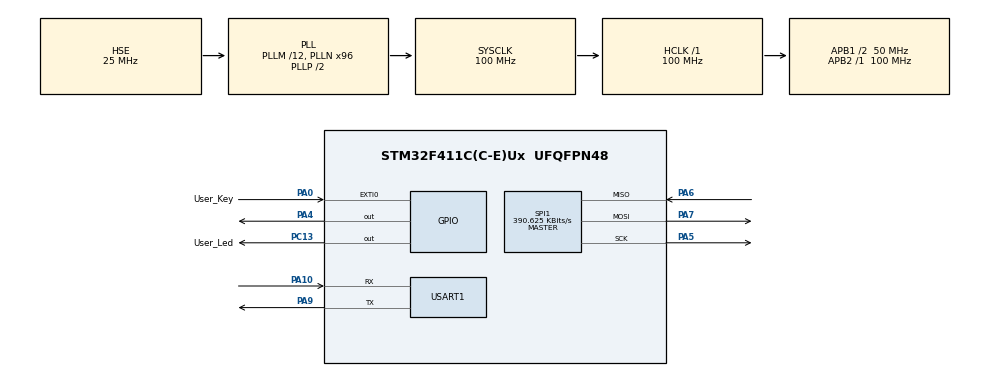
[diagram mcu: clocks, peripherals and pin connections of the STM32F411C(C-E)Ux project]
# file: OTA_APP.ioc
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Dma.Request0=USART1_RX
Dma.USART1_RX.0.Direction=DMA_PERIPH_TO_MEMORY
Dma.USART1_RX.0.FIFOMode=DMA_FIFOMODE_DISABLE
Dma.USART1_RX.0.Instance=DMA2_Stream2
Dma.USART1_RX.0.MemDataAlignment=DMA_MDATAALIGN_BYTE
Dma.USART1_RX.0.MemInc=DMA_MINC_ENABLE
Dma.USART1_RX.0.Mode=DMA_CIRCULAR
Dma.USART1_RX.0.PeriphDataAlignment=DMA_PDATAALIGN_BYTE
Dma.USART1_RX.0.PeriphInc=DMA_PINC_DISABLE
Dma.USART1_RX.0.Priority=DMA_PRIORITY_LOW
FREERTOS.Tasks01=defaultTask,24,128,StartDefaultTask,Default,NULL,Dynamic,NULL,NULL;key_task,24,128,key_task_runnable,Default,NULL,Dynamic,NULL,NULL;led_task,8,128,led_task_runnable,Default,NULL,Dynamic,NULL,NULL
FREERTOS.Timers01=LedTimer,LedCallback,osTimerOnce,Default,NULL,Dynamic,NULL
Mcu.Family=STM32F4
Mcu.Name=STM32F411C(C-E)Ux
Mcu.Package=UFQFPN48
NVIC.DMA2_Stream2_IRQn=true\:5\:0\:false\:false\:true\:true\:false\:true\:true
NVIC.EXTI0_IRQn=true\:5\:0\:true\:false\:true\:true\:true\:true\:true
NVIC.PriorityGroup=NVIC_PRIORITYGROUP_4
NVIC.TIM1_UP_TIM10_IRQn=true\:15\:0\:false\:false\:true\:false\:false\:true\:true
NVIC.TIM2_IRQn=true\:5\:0\:false\:false\:true\:true\:true\:true\:true
NVIC.TimeBase=TIM1_UP_TIM10_IRQn
NVIC.TimeBaseIP=TIM10
NVIC.USART1_IRQn=true\:5\:0\:false\:false\:true\:true\:true\:true\:true
PA0-WKUP.GPIO_Label=User_Key
PA0-WKUP.GPIO_ModeDefaultEXTI=GPIO_MODE_IT_FALLING
PA0-WKUP.GPIO_PuPd=GPIO_PULLUP
PA0-WKUP.Signal=GPXTI0
PA10.Mode=Asynchronous
PA10.Signal=USART1_RX
PA13.Mode=Serial_Wire
PA13.Signal=SYS_JTMS-SWDIO
PA14.Mode=Serial_Wire
PA14.Signal=SYS_JTCK-SWCLK
PA4.Signal=GPIO_Output
PA5.Mode=Full_Duplex_Master
PA5.Signal=SPI1_SCK
PA6.Mode=Full_Duplex_Master
PA6.Signal=SPI1_MISO
PA7.Mode=Full_Duplex_Master
PA7.Signal=SPI1_MOSI
PA9.Mode=Asynchronous
PA9.Signal=USART1_TX
PC13-ANTI_TAMP.GPIO_Label=User_Led
PC13-ANTI_TAMP.Signal=GPIO_Output
PH0\ -\ OSC_IN.Mode=HSE-External-Oscillator
PH0\ -\ OSC_IN.Signal=RCC_OSC_IN
PH1\ -\ OSC_OUT.Mode=HSE-External-Oscillator
PH1\ -\ OSC_OUT.Signal=RCC_OSC_OUT
ProjectManager.HeapSize=0x200
ProjectManager.StackSize=0x400
ProjectManager.TargetToolchain=MDK-ARM V5.32
RCC.48MHZClocksFreq_Value=50000000
RCC.AHBFreq_Value=100000000
RCC.APB1CLKDivider=RCC_HCLK_DIV2
RCC.APB1Freq_Value=50000000
RCC.APB1TimFreq_Value=100000000
RCC.APB2Freq_Value=100000000
RCC.APB2TimFreq_Value=100000000
RCC.CortexFreq_Value=100000000
RCC.HCLKFreq_Value=100000000
RCC.HSE_VALUE=25000000
RCC.HSI_VALUE=16000000
RCC.LSE_VALUE=32768
RCC.PLLM=12
RCC.PLLN=96
RCC.PLLSourceVirtual=RCC_PLLSOURCE_HSE
RCC.SYSCLKFreq_VALUE=100000000
RCC.SYSCLKSource=RCC_SYSCLKSOURCE_PLLCLK
RCC.VCOOutputFreq_Value=200000000
SPI1.BaudRatePrescaler=SPI_BAUDRATEPRESCALER_256
SPI1.CalculateBaudRate=390.625 KBits/s
SPI1.Direction=SPI_DIRECTION_2LINES
SPI1.Mode=SPI_MODE_MASTER
SPI1.VirtualType=VM_MASTER
TIM2.Period=500000
TIM2.Prescaler=100-1
USART1.VirtualMode=VM_ASYNC
VP_FREERTOS_VS_CMSIS_V2.Mode=CMSIS_V2
VP_SYS_VS_tim10.Mode=TIM10
VP_TIM2_VS_ClockSourceINT.Mode=Internal
board=custom

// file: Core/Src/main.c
/* USER CODE BEGIN Header */
/**
  ******************************************************************************
  * @file           : main.c
  * @brief          : Main program body
  ******************************************************************************
  * @attention
  *
  * Copyright (c) 2024 STMicroelectronics.
  * All rights reserved.
  *
  * This software is licensed under terms that can be found in the LICENSE file
  * in the root directory of this software component.
  * If no LICENSE file comes with this software, it is provided AS-IS.
  *
  ******************************************************************************
  */
/* USER CODE END Header */
#include "main.h"
#include "cmsis_os.h"
#include "dma.h"
#include "spi.h"
#include "tim.h"
#include "usart.h"
#include "gpio.h"

void SystemClock_Config(void);
void MX_FREERTOS_Init(void);

/* USER CODE BEGIN 0 */
int fputc(int ch, FILE *f )
{
  HAL_UART_Transmit(&huart1, (uint8_t *)&ch, 1, 1000);
  return ch;
}
#define NVIC_VectTab_FLASH ((uint32_t)0x08000000)
void NVIC_SetVectorTable (uint32_t NVIC_VectTab, uint32_t Offset)
{
        /* Check the parameters */
        assert_param(IS_NVIC_VECTTAB(NVIC_VectTab));
        assert_param(IS_NVIC_OFFSET(Offset));
        SCB->VTOR = NVIC_VectTab |Offset ;
}
void SoftReset(void)
{
    __set_FAULTMASK(1);
    NVIC_SystemReset();
}
/* USER CODE END 0 */

int main(void)
{

  /* USER CODE BEGIN 1 */
  NVIC_SetVectorTable(NVIC_VectTab_FLASH, 0x8000);
  /* USER CODE END 1 */

  /* MCU Configuration--------------------------------------------------------*/

  /* Reset of all peripherals, Initializes the Flash interface and the Systick. */
  HAL_Init();

  /* USER CODE BEGIN Init */
  HAL_RCC_DeInit();
  /* USER CODE END Init */

  /* Configure the system clock */
  SystemClock_Config();

  /* Initialize all configured peripherals */
  MX_GPIO_Init();
  MX_DMA_Init();
  MX_TIM2_Init();
  MX_USART1_UART_Init();
  MX_SPI1_Init();
  /* USER CODE BEGIN 2 */
  ee_CheckOk();
  W25Qx_Init();

  //需要将Page 2的标志置1
  uint8_t app_flag = 0;
  ee_ReadBytes(&app_flag , 16, 1);
  if(app_flag == 0)
  {
    app_flag = 0x01;
    ee_WriteBytes(&app_flag , 16, 1);
  }

	printf("Jump To App Success!!!");
#if 0
  if(1 == ee_Test())
  {
    //right
    printf("ee_Test OK");
  }
  else
  {
    //error
    printf("ee_Test error");
  }

  if(0 == W25Qx_Init())
  {
    //right
    printf("W25Q_Test OK");
  }
  else
  {
    //error
    printf("W25Q_Test error");
  }
#endif
  /* USER CODE END 2 */

  /* Init scheduler */
  osKernelInitialize();

  /* Call init function for freertos objects (in cmsis_os2.c) */
  MX_FREERTOS_Init();

  /* Start scheduler */
  osKernelStart();

  /* We should never get here as control is now taken by the scheduler */

  /* Infinite loop */
  while (1)
  {

  }
}

void SystemClock_Config(void)
{
  RCC_OscInitTypeDef RCC_OscInitStruct = {0};
  RCC_ClkInitTypeDef RCC_ClkInitStruct = {0};

  /** Configure the main internal regulator output voltage
  */
  __HAL_RCC_PWR_CLK_ENABLE();
  __HAL_PWR_VOLTAGESCALING_CONFIG(PWR_REGULATOR_VOLTAGE_SCALE1);

  /** Initializes the RCC Oscillators according to the specified parameters
  * in the RCC_OscInitTypeDef structure.
  */
  RCC_OscInitStruct.OscillatorType = RCC_OSCILLATORTYPE_HSE;
  RCC_OscInitStruct.HSEState = RCC_HSE_ON;
  RCC_OscInitStruct.PLL.PLLState = RCC_PLL_ON;
  RCC_OscInitStruct.PLL.PLLSource = RCC_PLLSOURCE_HSE;
  RCC_OscInitStruct.PLL.PLLM = 12;
  RCC_OscInitStruct.PLL.PLLN = 96;
  RCC_OscInitStruct.PLL.PLLP = RCC_PLLP_DIV2;
  RCC_OscInitStruct.PLL.PLLQ = 4;
  if (HAL_RCC_OscConfig(&RCC_OscInitStruct) != HAL_OK)
  {
    Error_Handler();
  }

  /** Initializes the CPU, AHB and APB buses clocks
  */
  RCC_ClkInitStruct.ClockType = RCC_CLOCKTYPE_HCLK|RCC_CLOCKTYPE_SYSCLK
                              |RCC_CLOCKTYPE_PCLK1|RCC_CLOCKTYPE_PCLK2;
  RCC_ClkInitStruct.SYSCLKSource = RCC_SYSCLKSOURCE_PLLCLK;
  RCC_ClkInitStruct.AHBCLKDivider = RCC_SYSCLK_DIV1;
  RCC_ClkInitStruct.APB1CLKDivider = RCC_HCLK_DIV2;
  RCC_ClkInitStruct.APB2CLKDivider = RCC_HCLK_DIV1;

  if (HAL_RCC_ClockConfig(&RCC_ClkInitStruct, FLASH_LATENCY_3) != HAL_OK)
  {
    Error_Handler();
  }
}

void HAL_TIM_PeriodElapsedCallback(TIM_HandleTypeDef *htim)
{
  if (htim->Instance == TIM10) {
    HAL_IncTick();
  }
}

void Error_Handler(void)
{
  __disable_irq();
  while (1)
  {
  }
}

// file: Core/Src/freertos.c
/* USER CODE BEGIN Header */
/**
  ******************************************************************************
  * File Name          : freertos.c
  * Description        : Code for freertos applications
  ******************************************************************************
  * @attention
  *
  * Copyright (c) 2024 STMicroelectronics.
  * All rights reserved.
  *
  * This software is licensed under terms that can be found in the LICENSE file
  * in the root directory of this software component.
  * If no LICENSE file comes with this software, it is provided AS-IS.
  *
  ******************************************************************************
  */
/* USER CODE END Header */

#include "FreeRTOS.h"
#include "task.h"
#include "main.h"
#include "cmsis_os.h"

/* USER CODE BEGIN Includes */
#include "usart.h"
#include "stm32f411_task_key.h"
#include "stm32f411_task_led.h"
/* USER CODE END Includes */

/* Definitions for defaultTask */
osThreadId_t defaultTaskHandle;
const osThreadAttr_t defaultTask_attributes = {
  .name = "defaultTask",
  .stack_size = 128 * 4,
  .priority = (osPriority_t) osPriorityNormal,
};
/* Definitions for key_task */
osThreadId_t key_taskHandle;
const osThreadAttr_t key_task_attributes = {
  .name = "key_task",
  .stack_size = 128 * 4,
  .priority = (osPriority_t) osPriorityNormal,
};
/* Definitions for led_task */
osThreadId_t led_taskHandle;
const osThreadAttr_t led_task_attributes = {
  .name = "led_task",
  .stack_size = 128 * 4,
  .priority = (osPriority_t) osPriorityLow,
};
/* Definitions for LedTimer */
osTimerId_t LedTimerHandle;
const osTimerAttr_t LedTimer_attributes = {
  .name = "LedTimer"
};

/* USER CODE BEGIN FunctionPrototypes */
/* Definitions for led_task */
osThreadId_t ota_taskHandle;
const osThreadAttr_t ota_task_attributes = {
  .name = "ota_task",
  .stack_size = 512 * 4,
  .priority = (osPriority_t) osPriorityNormal,
};
SemaphoreHandle_t binarySemaphore;
/* USER CODE END FunctionPrototypes */

void StartDefaultTask(void *argument);
void key_task_runnable(void *argument);
void led_task_runnable(void *argument);
void LedCallback(void *argument);

void MX_FREERTOS_Init(void); /* (MISRA C 2004 rule 8.1) */

void MX_FREERTOS_Init(void) {

  /* USER CODE BEGIN RTOS_SEMAPHORES */
  /* add semaphores, ... */
  binarySemaphore = xSemaphoreCreateBinary();
  /* USER CODE END RTOS_SEMAPHORES */

  /* Create the timer(s) */
  /* creation of LedTimer */
  LedTimerHandle = osTimerNew(LedCallback, osTimerOnce, NULL, &LedTimer_attributes);

  /* Create the thread(s) */
  /* creation of defaultTask */
  defaultTaskHandle = osThreadNew(StartDefaultTask, NULL, &defaultTask_attributes);

  /* creation of key_task */
  key_taskHandle = osThreadNew(key_task_runnable, NULL, &key_task_attributes);

  /* creation of led_task */
  led_taskHandle = osThreadNew(led_task_runnable, NULL, &led_task_attributes);

  /* USER CODE BEGIN RTOS_THREADS */
  /* add threads, ... */
  ota_taskHandle = osThreadNew(ota_task_runnable, NULL, &ota_task_attributes);
  /* USER CODE END RTOS_THREADS */

}

void StartDefaultTask(void *argument)
{
  for(;;)
  {
    osDelay(1);
  }
}

void key_task_runnable(void *argument)
{
  /* USER CODE BEGIN key_task_runnable */
  key_interface.pfinit();
  /* Infinite loop */
  for(;;)
  {
    //key task
    key_interface.pftask();
  }
  /* USER CODE END key_task_runnable */
}

void led_task_runnable(void *argument)
{
  /* USER CODE BEGIN led_task_runnable */
  led_interface.pfinit();
  /* Infinite loop */
  for(;;)
  {
    //led task
    led_interface.pftask();
  }
  /* USER CODE END led_task_runnable */
}

/* LedCallback function */
void LedCallback(void *argument)
{
  /* USER CODE BEGIN LedCallback */
  led_interface.pftimercallback(LED_BLUE);
  /* USER CODE END LedCallback */
}

/* USER CODE BEGIN Application */
uint16_t receive_data_len;
void HAL_UARTEx_RxEventCallback(UART_HandleTypeDef *huart, uint16_t Size)
{
		BaseType_t xHigherPriorityTaskWoken = pdFALSE;
    UNUSED(huart);
		UNUSED(Size);

  if (huart->Instance == USART1)
  {
//    uint8_t flag;

		//TODO:此处huart的空闲寄存器无法获取，后续查找原因
    //if(1 == __HAL_UART_GET_FLAG(huart,UART_FLAG_IDLE))
    if(HAL_UART_RXEVENT_IDLE == huart->RxEventType)
    {
      receive_data_len = __HAL_DMA_GET_COUNTER(&hdma_usart1_rx);
      // DMA 传输完成后的操作
      HAL_UART_DMAStop(huart);
      // 释放信号量
      xSemaphoreGiveFromISR(binarySemaphore, &xHigherPriorityTaskWoken);
    }
  }
  // 如果在中断中唤醒了更高优先级的任务，进行任务切换
  portYIELD_FROM_ISR(xHigherPriorityTaskWoken);
}
/* USER CODE END Application */
